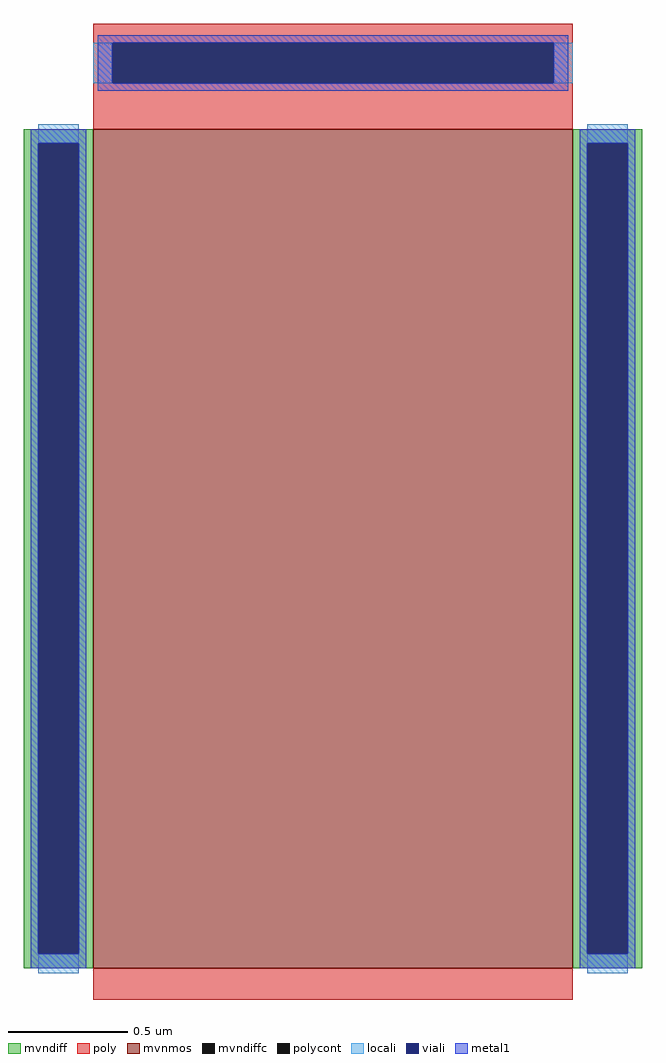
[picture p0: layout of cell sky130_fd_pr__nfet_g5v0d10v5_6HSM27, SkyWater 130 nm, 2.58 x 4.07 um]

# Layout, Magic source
magic
tech sky130A
magscale 1 2
<< mvnmos >>
rect -200 -381 200 319
<< mvndiff >>
rect -258 307 -200 319
rect -258 -369 -246 307
rect -212 -369 -200 307
rect -258 -381 -200 -369
rect 200 307 258 319
rect 200 -369 212 307
rect 246 -369 258 307
rect 200 -381 258 -369
<< mvndiffc >>
rect -246 -369 -212 307
rect 212 -369 246 307
<< poly >>
rect -200 391 200 407
rect -200 357 -184 391
rect 184 357 200 391
rect -200 319 200 357
rect -200 -407 200 -381
<< polycont >>
rect -184 357 184 391
<< locali >>
rect -200 357 -184 391
rect 184 357 200 391
rect -246 307 -212 323
rect -246 -385 -212 -369
rect 212 307 246 323
rect 212 -385 246 -369
<< viali >>
rect -184 357 184 391
rect -246 -369 -212 307
rect 212 -369 246 307
<< metal1 >>
rect -196 391 196 397
rect -196 357 -184 391
rect 184 357 196 391
rect -196 351 196 357
rect -252 307 -206 319
rect -252 -369 -246 307
rect -212 -369 -206 307
rect -252 -381 -206 -369
rect 206 307 252 319
rect 206 -369 212 307
rect 246 -369 252 307
rect 206 -381 252 -369
<< properties >>
string gencell sky130_fd_pr__nfet_g5v0d10v5
string library sky130
string parameters w 3.5 l 2 m 1 nf 1 diffcov 100 polycov 100 guard 0 glc 1 grc 1 gtc 1 gbc 1 tbcov 100 rlcov 100 topc 1 botc 0 poverlap 0 doverlap 1 lmin 0.50 wmin 0.42 compatible {sky130_fd_pr__nfet_01v8 sky130_fd_pr__nfet_01v8_lvt  sky130_fd_bs_flash__special_sonosfet_star  sky130_fd_pr__nfet_g5v0d10v5 sky130_fd_pr__nfet_05v0_nvt  sky130_fd_pr__nfet_03v3_nvt} full_metal 1 viasrc 100 viadrn 100 viagate 100 viagb 0 viagr 0 viagl 0 viagt 0
<< end >>
